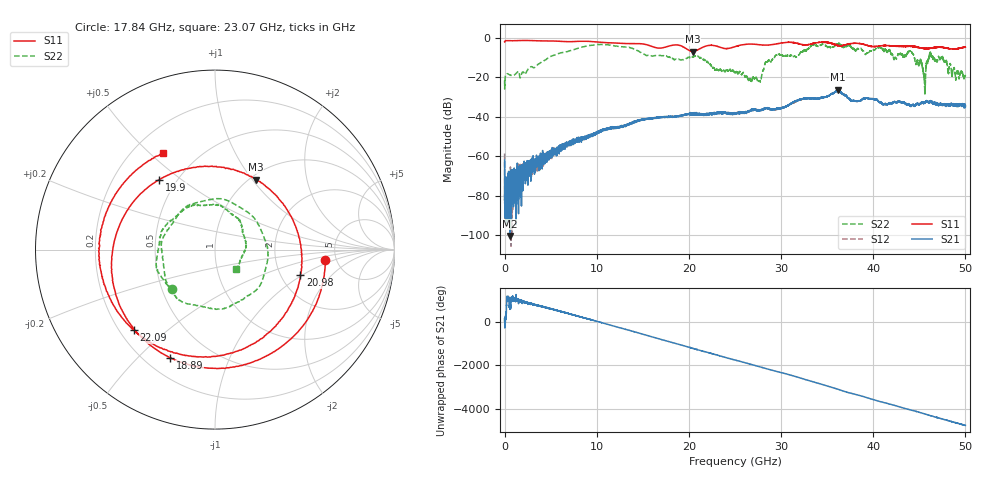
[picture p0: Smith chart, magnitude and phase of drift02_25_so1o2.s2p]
!Created with skrf (http://scikit-rf.org).
# Hz S RI R 50.0
!freq ReS11 ImS11 ReS21 ImS21 ReS12 ImS12 ReS22 ImS22
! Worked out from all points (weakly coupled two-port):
!   10001 points, 300 kHz to 50 GHz, reference 50 ohm
!   highest |S21| = -26.28 dB at 36.13 GHz (marker M1); lowest = -100.3 dB at 560.3 MHz (marker M2)
!   lowest |S11| = -6.9 dB at 20.4 GHz (marker M3), VSWR 2.64, Z = 53.2 + j51.8 ohm
!   |S11| at or under -10 dB: nowhere
!   |S22| runs from -28.4 to -2.6 dB; largest |S21 - S12| = 0.0049
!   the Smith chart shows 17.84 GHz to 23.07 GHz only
!   S11 on the Smith chart (normalised r, x): 17.84 GHz: 4.07, -0.75; 18.89 GHz: 0.30, -0.63; 19.9 GHz: 0.40, +0.42; 20.98 GHz: 2.55, -0.97; 22.09 GHz: 0.26, -0.39; 23.07 GHz: 0.32, +0.55
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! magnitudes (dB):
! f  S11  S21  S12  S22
! 300 kHz  -2.1  -61.8  -58.6  -21.6
! 255.3 MHz  -1.4  -87.1  -77.6  -18.2
! 560.3 MHz  -1.5  -100.3  -77.7  -18.8
! 8.335 GHz  -1.7  -50.2  -51.2  -4.8
! 16.67 GHz  -5.2  -40.3  -40.3  -9.0
! 17.84 GHz  -4.2  -39.9  -40.1  -9.7
! 18.89 GHz  -3.7  -39.7  -39.6  -10.9
! 19.9 GHz  -6.0  -38.8  -38.7  -9.9
! 20.4 GHz  -6.9  -38.5  -38.5  -9.7
! 20.98 GHz  -6.1  -38.6  -38.7  -9.3
! 22.09 GHz  -3.9  -38.7  -38.8  -12.5
! 23.07 GHz  -4.3  -37.6  -37.9  -15.9
! 25 GHz  -4.5  -38.2  -38.3  -17.6
! 27.62 GHz  -3.5  -36.6  -36.5  -21.9
! 29.54 GHz  -3.0  -35.9  -36.2  -8.8
! 33.34 GHz  -3.0  -30.6  -30.6  -3.8
! 36.13 GHz  -3.9  -26.3  -27.0  -3.3
! 41.67 GHz  -4.0  -33.5  -33.5  -6.4
! 44.12 GHz  -4.2  -34.5  -34.4  -7.1
! 45.5 GHz  -5.4  -32.7  -33.0  -19.5
! 46.25 GHz  -5.2  -32.0  -32.5  -7.9
! 50 GHz  -4.7  -34.4  -34.3  -19.2
